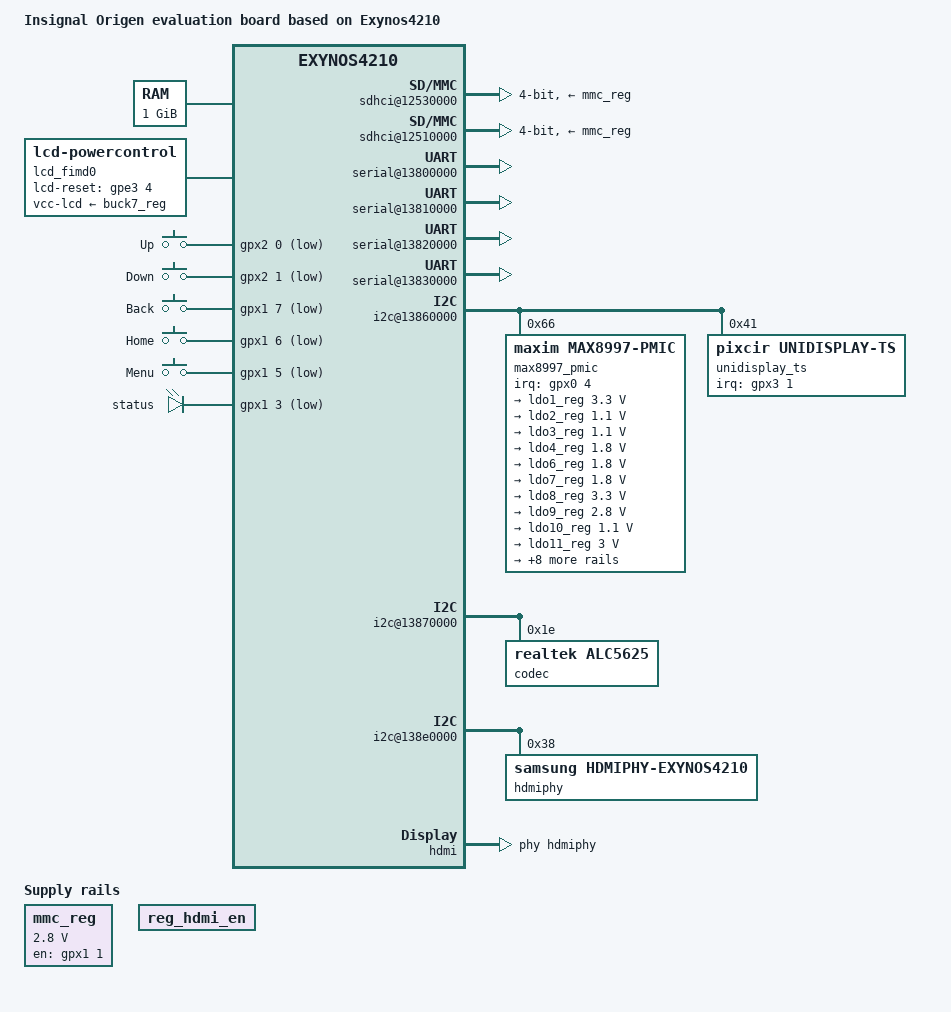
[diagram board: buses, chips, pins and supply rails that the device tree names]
/*
 * Samsung's Exynos4210 based Origen board device tree source
 *
 * Copyright (c) 2010-2011 Samsung Electronics Co., Ltd.
 *		http://www.samsung.com
 * Copyright (c) 2010-2011 Linaro Ltd.
 *		www.linaro.org
 *
 * Device tree source file for Insignal's Origen board which is based on
 * Samsung's Exynos4210 SoC.
 *
 * This program is free software; you can redistribute it and/or modify
 * it under the terms of the GNU General Public License version 2 as
 * published by the Free Software Foundation.
*/

/dts-v1/;
/include/ "exynos4210.dtsi"

/ {
	model = "Insignal Origen evaluation board based on Exynos4210";
	compatible = "insignal,origen", "samsung,exynos4210";

	memory {
		reg = <0x40000000 0x10000000
		       0x50000000 0x10000000
		       0x60000000 0x10000000
		       0x70000000 0x10000000>;
	};

	chosen {
		bootargs ="root=/dev/ram0 rw ramdisk=8192 initrd=0x41000000,8M console=ttySAC2,115200 init=/linuxrc";
	};

	mmc_reg: voltage-regulator {
	        compatible = "regulator-fixed";
		regulator-name = "VMEM_VDD_2.8V";
		regulator-min-microvolt = <2800000>;
		regulator-max-microvolt = <2800000>;
		gpio = <&gpx1 1 0>;
		enable-active-high;
	};

	sdhci@12530000 {
		bus-width = <4>;
		pinctrl-0 = <&sd2_clk &sd2_cmd &sd2_bus4 &sd2_cd>;
		pinctrl-names = "default";
		vmmc-supply = <&mmc_reg>;
		status = "okay";
	};

	sdhci@12510000 {
		bus-width = <4>;
		pinctrl-0 = <&sd0_clk &sd0_cmd &sd0_bus4 &sd0_cd>;
		pinctrl-names = "default";
		vmmc-supply = <&mmc_reg>;
		status = "okay";
	};

	serial@13800000 {
		status = "okay";
	};

	serial@13810000 {
		status = "okay";
	};

	serial@13820000 {
		status = "okay";
	};

	serial@13830000 {
		status = "okay";
	};

	lcd_fimd0: lcd_panel0 {
		compatible = "lcd-powercontrol";
		vcc-lcd-supply = <&buck7_reg>;
		lcd-reset-gpio = <&gpe3 4 0>;
		lcd-htiming = <64 16 48 1024>;
		lcd-vtiming = <64 16 3 600>;
	};

	fimd@11C00000 {
		samsung,fimd-display = <&lcd_fimd0>;
		samsung,fimd-vidout-rgb;
		samsung,fimd-inv-hsync;
		samsung,fimd-inv-vsync;
		samsung,fimd-inv-vclk;
		samsung,fimd-frame-rate = <60>;

		samsung,power-domain = <&pd_lcd0>;

		pinctrl-0 = <&lcd0_sync &lcd0_clk &lcd0_en &lcd0_data &pwm0_out>;
		pinctrl-names = "default";

		window0 {
			samsung,fimd-win-id = <0>;
			samsung,fimd-win-bpp = <32 24>;
			samsung,fimd-win-res = <1024 600>;
			samsung,fimd-win-vres = <1024 600>;
		};

		window1 {
			samsung,fimd-win-id = <1>;
			samsung,fimd-win-bpp = <32 24>;
			samsung,fimd-win-res = <1024 600>;
			samsung,fimd-win-vres = <1024 600>;
		};
	};

	i2c@13860000 {
		status = "okay";
		samsung,i2c-sda-delay = <100>;
		samsung,i2c-max-bus-freq = <20000>;
		pinctrl-0 = <&i2c0_bus>;
		pinctrl-names = "default";

		max8997_pmic@66 {
			compatible = "maxim,max8997-pmic";
			reg = <0x66>;
			interrupt-parent = <&gpx0>;
			interrupts = <4 0>, <3 0>;

			max8997,pmic-buck1-dvs-voltage = <1350000>;
			max8997,pmic-buck2-dvs-voltage = <1100000>;
			max8997,pmic-buck5-dvs-voltage = <1200000>;

			regulators {
				ldo1_reg: LDO1 {
					regulator-name = "VDD_ABB_3.3V";
					regulator-min-microvolt = <3300000>;
					regulator-max-microvolt = <3300000>;
				};

				ldo2_reg: LDO2 {
					regulator-name = "VDD_ALIVE_1.1V";
					regulator-min-microvolt = <1100000>;
					regulator-max-microvolt = <1100000>;
					regulator-always-on;
				};

				ldo3_reg: LDO3 {
					regulator-name = "VMIPI_1.1V";
					regulator-min-microvolt = <1100000>;
					regulator-max-microvolt = <1100000>;
					regulator-always-on;
				};

				ldo4_reg: LDO4 {
					regulator-name = "VDD_RTC_1.8V";
					regulator-min-microvolt = <1800000>;
					regulator-max-microvolt	= <1800000>;
					regulator-always-on;
				};

				ldo6_reg: LDO6 {
					regulator-name = "VMIPI_1.8V";
					regulator-min-microvolt = <1800000>;
					regulator-max-microvolt	= <1800000>;
					regulator-always-on;
				};

				ldo7_reg: LDO7 {
					regulator-name = "VDD_AUD_1.8V";
					regulator-min-microvolt = <1800000>;
					regulator-max-microvolt	= <1800000>;
					regulator-always-on;
				};

				ldo8_reg: LDO8 {
					regulator-name = "VADC_3.3V";
					regulator-min-microvolt = <3300000>;
					regulator-max-microvolt	= <3300000>;
					regulator-always-on;
				};

				ldo9_reg: LDO9 {
					regulator-name = "DVDD_SWB_2.8V";
					regulator-min-microvolt = <2800000>;
					regulator-max-microvolt	= <2800000>;
					regulator-always-on;
				};

				ldo10_reg: LDO10 {
					regulator-name = "VDD_PLL_1.1V";
					regulator-min-microvolt = <1100000>;
					regulator-max-microvolt	= <1100000>;
					regulator-always-on;
				};

				ldo11_reg: LDO11 {
					regulator-name = "VDD_AUD_3V";
					regulator-min-microvolt = <3000000>;
					regulator-max-microvolt	= <3000000>;
					regulator-always-on;
				};

				ldo14_reg: LDO14 {
					regulator-name = "AVDD18_SWB_1.8V";
					regulator-min-microvolt = <1800000>;
					regulator-max-microvolt	= <1800000>;
					regulator-always-on;
				};

				ldo17_reg: LDO17 {
					regulator-name = "VDD_SWB_3.3V";
					regulator-min-microvolt = <3300000>;
					regulator-max-microvolt	= <3300000>;
					regulator-always-on;
				};

				ldo21_reg: LDO21 {
					regulator-name = "VDD_MIF_1.2V";
					regulator-min-microvolt = <1200000>;
					regulator-max-microvolt	= <1200000>;
					regulator-always-on;
				};

				buck1_reg: BUCK1 {
					regulator-name = "VDD_ARM_1.2V";
					regulator-min-microvolt = <950000>;
					regulator-max-microvolt	= <1350000>;
					regulator-always-on;
					regulator-boot-on;
				};

				buck2_reg: BUCK2 {
					regulator-name = "VDD_INT_1.1V";
					regulator-min-microvolt = <900000>;
					regulator-max-microvolt	= <1100000>;
					regulator-always-on;
					regulator-boot-on;
				};

				buck3_reg: BUCK3 {
					regulator-name = "VDD_G3D_1.1V";
					regulator-min-microvolt = <900000>;
					regulator-max-microvolt = <1100000>;
				};

				buck5_reg: BUCK5 {
					regulator-name = "VDDQ_M1M2_1.2V";
					regulator-min-microvolt = <1200000>;
					regulator-max-microvolt = <1200000>;
					regulator-always-on;
				};

				buck7_reg: BUCK7 {
					regulator-name = "VDD_LCD_3.3V";
					regulator-min-microvolt = <3300000>;
					regulator-max-microvolt = <3300000>;
					regulator-boot-on;
				};
			};
		};

		unidisplay_ts@41 {
			compatible = "pixcir,unidisplay-ts";
			reg = <0x41>;
			interrupt-parent = <&gpx3>;
			interrupts = <1 0>;
		};
	};

	i2c@13870000 {
		status = "okay";
		samsung,i2c-sda-delay = <100>;
		samsung,i2c-max-bus-freq = <20000>;
		pinctrl-0 = <&i2c1_bus>;
		pinctrl-names = "default";

		codec: alc5625@1e {
			compatible = "realtek,alc5625";
			reg = <0x1e>;
		};
	};

	gpio_keys {
		compatible = "gpio-keys";
		#address-cells = <1>;
		#size-cells = <0>;

		up {
			label = "Up";
			gpios = <&gpx2 0 1>;
			linux,code = <103>;
			gpio-key,wakeup;
		};

		down {
			label = "Down";
			gpios = <&gpx2 1 1>;
			linux,code = <108>;
			gpio-key,wakeup;
		};

		back {
			label = "Back";
			gpios = <&gpx1 7 1>;
			linux,code = <158>;
			gpio-key,wakeup;
		};

		home {
			label = "Home";
			gpios = <&gpx1 6 1>;
			linux,code = <102>;
			gpio-key,wakeup;
		};

		menu {
			label = "Menu";
			gpios = <&gpx1 5 1>;
			linux,code = <139>;
			gpio-key,wakeup;
		};
	};

	leds {
		compatible = "gpio-leds";
		status {
			gpios = <&gpx1 3 1>;
			linux,default-trigger = "heartbeat";
		};
	};

	usb@12480000 {
		vusb_a-supply = <&ldo3_reg>;
		vusb_d-supply = <&ldo8_reg>;
	};

	i2c@138e0000 {
		#address-cells = <1>;
		#size-cells = <0>;
		compatible = "samsung,s3c2440-hdmiphy-i2c";
		samsung,i2c-quirk-hdmiphy;
		samsung,i2c-no-gpio;
		reg = <0x138e0000 0x1000>;
		interrupts = <0 93 0>;
		status = "okay";

		hdmiphy: phy@38 {
			compatible = "samsung,hdmiphy-exynos4210";
			reg = <0x38>;
		};
	};

	tvmixer: tvmixer@12c10000 {
		compatible = "samsung,s5pv210-tvmixer";
		reg = <0x12c10000 0x10000>, <0x12c00000 0x10000>;
		reg-names = "mxr", "vp";
		interrupts = <0 91 0>;
		interrupt-names = "irq";
		samsung,power-domain = <&pd_tv>;
	};

	hdmi: hdmi@12d00000 {
		compatible = "samsung,s5pv210-hdmi";
		reg = <0x12d00000 0x100000>;
		interrupts = <0 92 0>;
		phy = <&hdmiphy>;
		samsung,power-domain = <&pd_tv>;

		vdd_osc-supply = <&ldo8_reg>;
		vdd_pll-supply = <&ldo3_reg>;
		vdd-supply = <&ldo3_reg>;
	};

	reg_hdmi_en: fixedregulator@0 {
		compatible = "regulator-fixed";
		regulator-name = "hdmi-en";
	};

	i2s_0: i2s@03830000 {
		pinctrl-0 = <&i2s0_bus>;
		pinctrl-names = "default";
		idma-addr = <0x03000000>;
	};

	asoc_dma {
		compatible = "samsung,audio-dma";
	};

	origen_audio {
		compatible = "samsung,origen_audio";
	};
};
